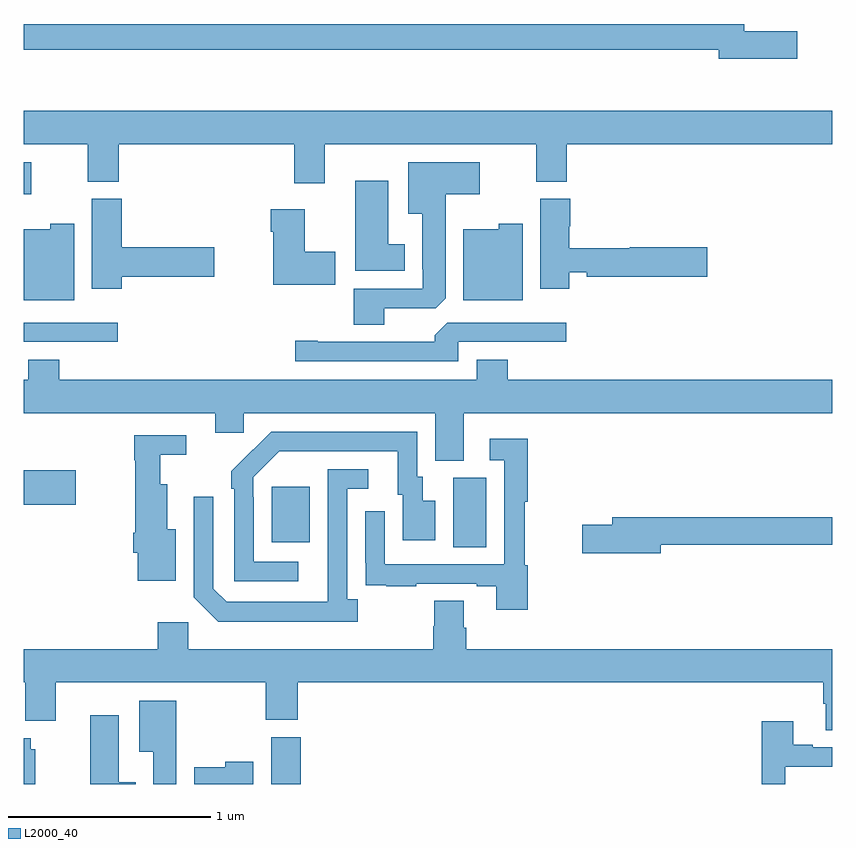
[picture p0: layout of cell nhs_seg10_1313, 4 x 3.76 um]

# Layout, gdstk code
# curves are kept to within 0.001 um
import gdstk
lib = gdstk.Library(unit=1e-6, precision=1e-09)
def R(c, l, rs):  # rectangles x0, y0, x1, y1
    for r in rs: c.add(gdstk.rectangle(r[:2], r[2:], *l))
def P(c, l, *ps):  # polygons
    for p in ps: c.add(gdstk.Polygon(p, *l))
L2000_40 = (2000, 40)

nhs_seg10_1313 = lib.new_cell('nhs_seg10_1313')
R(nhs_seg10_1313, L2000_40, [(180.224,1278.5,180.371,1278.732), (181.124,1279.672,181.288,1280.016), (180.227,1279.697,180.415,1279.972), (179,1279.883,179.257,1280.053), (179,1280.688,179.464,1280.784), (179,1281.419,179.035,1281.577)])
P(nhs_seg10_1313, L2000_40, [(182.827,1282.226),(182.566,1282.226),(182.566,1282.262),(179,1282.262),(179,1282.134),(182.438,1282.134),(182.438,1282.091),(182.827,1282.091)],
  [(180.49,1281.668),(181.535,1281.668),(181.535,1281.481),(181.688,1281.481),(181.688,1281.668),(183,1281.668),(183,1281.832),(179,1281.832),(179,1281.668),(179.315,1281.668),(179.315,1281.481),(179.468,1281.481),(179.468,1281.668),(180.338,1281.668),(180.338,1281.474),(180.49,1281.474)],
  [(180.784,1280.856),(181.038,1280.856),(181.087,1280.905),(181.087,1281.419),(181.255,1281.419),(181.255,1281.577),(180.902,1281.577),(180.902,1281.323),(180.971,1281.323),(180.971,1281.049),(180.975,1281.049),(180.975,1280.952),(180.632,1280.952),(180.632,1280.773),(180.784,1280.773)],
  [(180.886,1281.172),(180.802,1281.172),(180.802,1281.487),(180.641,1281.487),(180.641,1281.041),(180.886,1281.041)],
  [(179.483,1281.011),(179.941,1281.011),(179.941,1281.158),(179.483,1281.158),(179.483,1281.396),(179.336,1281.396),(179.336,1280.952),(179.483,1280.952)],
  [(181.698,1281.034),(181.786,1281.034),(181.786,1281.011),(182.383,1281.011),(182.383,1281.158),(181.998,1281.158),(181.998,1281.152),(181.698,1281.152),(181.698,1281.26),(181.703,1281.26),(181.703,1281.396),(181.556,1281.396),(181.556,1280.952),(181.698,1280.952)],
  [(180.541,1281.135),(180.391,1281.135),(180.391,1281.346),(180.221,1281.346),(180.221,1281.233),(180.233,1281.233),(180.233,1280.972),(180.541,1280.972)],
  [(181.468,1281.274),(181.35,1281.274),(181.35,1281.247),(181.175,1281.247),(181.175,1280.894),(181.468,1280.894)],
  [(179.248,1281.274),(179.13,1281.274),(179.13,1281.247),(179,1281.247),(179,1280.894),(179.248,1280.894)],
  [(181.149,1280.688),(181.684,1280.688),(181.684,1280.784),(181.095,1280.784),(181.034,1280.722),(181.034,1280.688),(180.454,1280.688),(180.454,1280.693),(180.342,1280.693),(180.342,1280.592),(181.149,1280.592)],
  [(179.174,1280.599),(179.021,1280.599),(179.021,1280.5),(179,1280.5),(179,1280.336),(179.948,1280.336),(179.948,1280.238),(180.087,1280.238),(180.087,1280.336),(181.037,1280.336),(181.037,1280.101),(181.177,1280.101),(181.177,1280.336),(183,1280.336),(183,1280.5),(181.394,1280.5),(181.394,1280.599),(181.241,1280.599),(181.241,1280.5),(179.174,1280.5)],
  [(180.358,1279.599),(180.138,1279.599),(180.138,1279.919),(180.135,1279.919),(180.135,1280.019),(180.264,1280.148),(180.851,1280.148),(180.851,1279.932),(180.875,1279.932),(180.875,1279.707),(181.036,1279.707),(181.036,1279.903),(180.973,1279.903),(180.973,1280.022),(180.948,1280.022),(180.948,1280.244),(180.224,1280.244),(180.027,1280.049),(180.027,1279.961),(180.042,1279.961),(180.042,1279.503),(180.358,1279.503)],
  [(179.752,1279.762),(179.71,1279.762),(179.71,1279.984),(179.674,1279.984),(179.674,1280.129),(179.803,1280.129),(179.803,1280.226),(179.545,1280.226),(179.545,1280.102),(179.552,1280.102),(179.552,1279.744),(179.54,1279.744),(179.54,1279.644),(179.564,1279.644),(179.564,1279.505),(179.752,1279.505)],
  [(181.493,1279.584),(181.478,1279.584),(181.478,1279.896),(181.493,1279.896),(181.493,1280.209),(181.305,1280.209),(181.305,1280.103),(181.377,1280.103),(181.377,1279.587),(180.786,1279.587),(180.786,1279.849),(180.69,1279.849),(180.69,1279.594),(180.691,1279.594),(180.691,1279.485),(180.793,1279.485),(180.793,1279.479),(180.941,1279.479),(180.941,1279.491),(181.241,1279.491),(181.241,1279.479),(181.337,1279.479),(181.337,1279.362),(181.493,1279.362)],
  [(180.652,1279.414),(180.6,1279.414),(180.6,1279.962),(180.703,1279.962),(180.703,1280.058),(180.504,1280.058),(180.503,1279.401),(180.003,1279.401),(179.937,1279.467),(179.937,1279.921),(179.841,1279.921),(179.841,1279.425),(179.962,1279.304),(180.652,1279.304)],
  [(182.152,1279.684),(183,1279.684),(183,1279.82),(181.913,1279.82),(181.913,1279.784),(181.764,1279.784),(181.764,1279.642),(182.152,1279.642)],
  [(183,1279.168),(181.19,1279.168),(181.19,1279.274),(181.177,1279.274),(181.177,1279.406),(181.03,1279.406),(181.03,1279.281),(181.025,1279.281),(181.025,1279.168),(179.814,1279.168),(179.814,1279.3),(179.663,1279.3),(179.663,1279.168),(179,1279.168),(179,1279.004),(179.006,1279.004),(179.006,1278.812),(179.158,1278.812),(179.158,1279.004),(180.196,1279.004),(180.196,1278.817),(180.356,1278.817),(180.356,1279.004),(182.957,1279.004),(182.957,1278.898),(182.969,1278.898),(182.969,1278.766),(183,1278.766)],
  [(179.755,1278.913),(179.57,1278.913),(179.57,1278.659),(179.639,1278.659),(179.639,1278.5),(179.755,1278.5)],
  [(179.554,1278.508),(179.47,1278.508),(179.47,1278.841),(179.327,1278.841),(179.327,1278.5),(179.554,1278.5)],
  [(182.769,1278.585),(183,1278.585),(183,1278.681),(182.905,1278.681),(182.905,1278.694),(182.809,1278.694),(182.809,1278.811),(182.653,1278.811),(182.653,1278.5),(182.769,1278.5)],
  [(179.056,1278.673),(179.034,1278.673),(179.034,1278.727),(179,1278.727),(179,1278.5),(179.056,1278.5)],
  [(180.136,1278.61),(179.997,1278.61),(179.997,1278.583),(179.843,1278.583),(179.843,1278.5),(180.136,1278.5)])

lib.write_gds('nhs_seg10_1313.gds')
